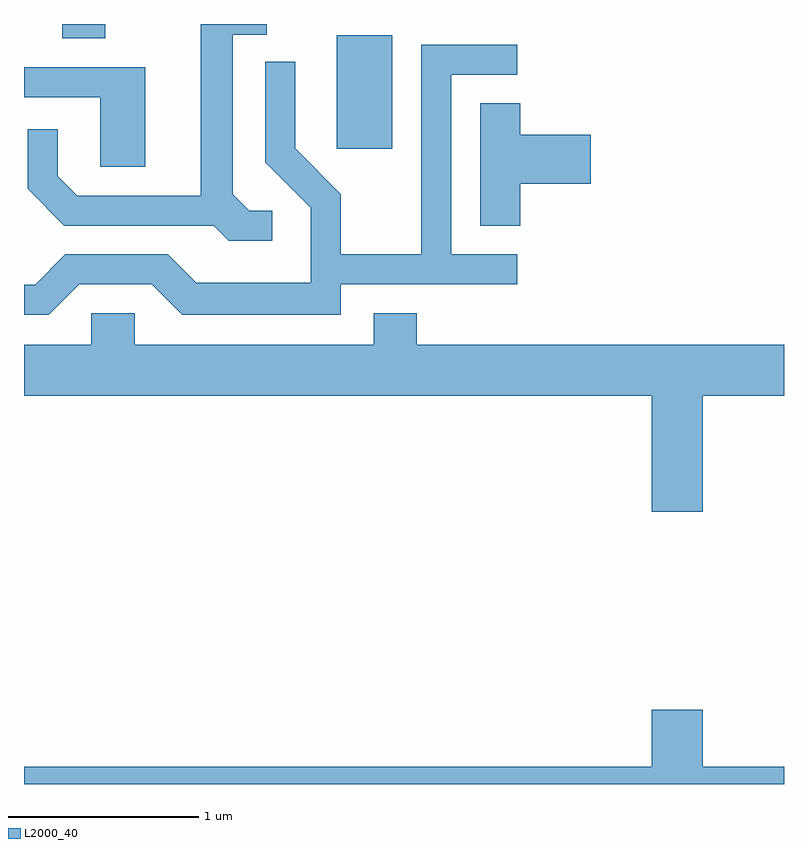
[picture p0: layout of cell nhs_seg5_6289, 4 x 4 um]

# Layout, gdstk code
import gdstk
lib = gdstk.Library(unit=1e-6, precision=1e-09)
def R(c, l, rs):  # rectangles x0, y0, x1, y1
    for r in rs: c.add(gdstk.rectangle(r[:2], r[2:], *l))
def P(c, l, *ps):  # polygons
    for p in ps: c.add(gdstk.Polygon(p, *l))
L2000_40 = (2000, 40)

nhs_seg5_6289 = lib.new_cell('nhs_seg5_6289')
R(nhs_seg5_6289, L2000_40, [(373.256,1471.416,373.549,1472.014), (371.811,1471.996,372.039,1472.072)])
P(nhs_seg5_6289, L2000_40, [(372.918,1471.089),(372.797,1471.089),(372.709,1471.177),(372.709,1472.016),(372.888,1472.016),(372.888,1472.072),(372.541,1472.072),(372.541,1471.169),(371.892,1471.169),(371.789,1471.272),(371.789,1471.518),(371.631,1471.518),(371.631,1471.204),(371.824,1471.011),(372.609,1471.011),(372.689,1470.931),(372.918,1470.931)],
  [(371.902,1470.701),(372.284,1470.701),(372.444,1470.541),(373.279,1470.541),(373.279,1470.701),(374.208,1470.701),(374.208,1470.859),(373.859,1470.859),(373.859,1471.806),(374.208,1471.806),(374.208,1471.964),(373.701,1471.964),(373.701,1470.859),(373.279,1470.859),(373.279,1471.177),(373.039,1471.417),(373.039,1471.873),(372.881,1471.873),(372.881,1471.344),(373.121,1471.104),(373.121,1470.709),(372.517,1470.709),(372.367,1470.859),(371.829,1470.859),(371.669,1470.699),(371.611,1470.699),(371.611,1470.541),(371.742,1470.541)],
  [(372.249,1471.844),(371.611,1471.844),(371.611,1471.686),(372.011,1471.686),(372.011,1471.321),(372.249,1471.321)],
  [(374.224,1471.231),(374.594,1471.231),(374.594,1471.489),(374.224,1471.489),(374.224,1471.654),(374.011,1471.654),(374.011,1471.011),(374.224,1471.011)],
  [(374.916,1469.506),(375.184,1469.506),(375.184,1470.116),(375.611,1470.116),(375.611,1470.384),(373.679,1470.384),(373.679,1470.549),(373.451,1470.549),(373.451,1470.384),(372.194,1470.384),(372.194,1470.549),(371.966,1470.549),(371.966,1470.384),(371.611,1470.384),(371.611,1470.116),(374.916,1470.116)],
  [(375.611,1468.164),(375.184,1468.164),(375.184,1468.464),(374.916,1468.464),(374.916,1468.164),(371.611,1468.164),(371.611,1468.072),(375.611,1468.072)])

lib.write_gds('nhs_seg5_6289.gds')
